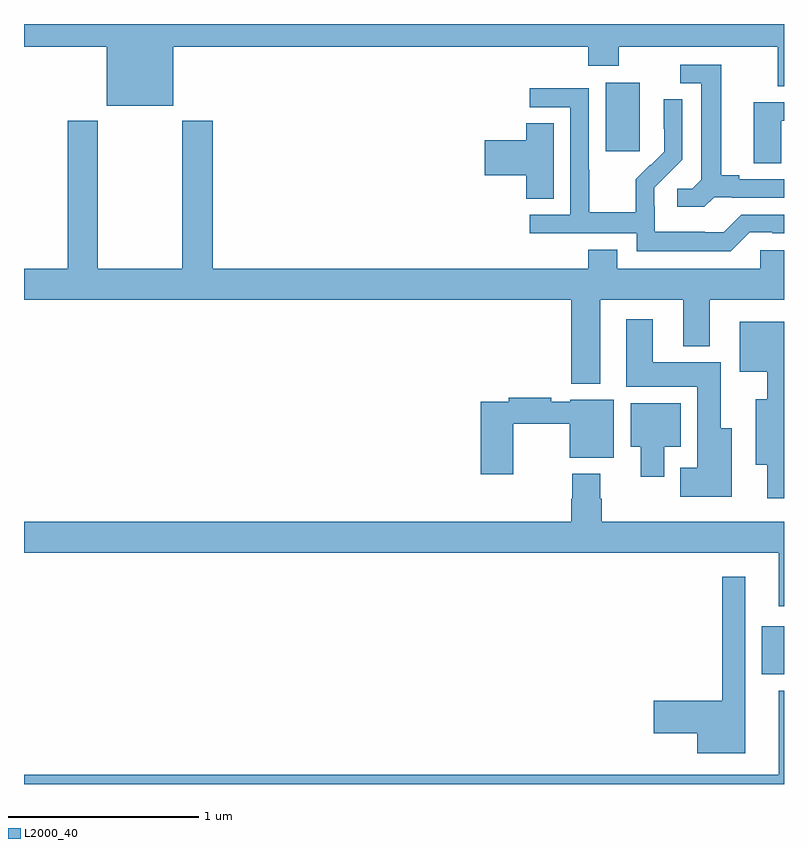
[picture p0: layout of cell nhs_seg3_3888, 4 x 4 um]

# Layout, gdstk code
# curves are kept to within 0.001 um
import gdstk
lib = gdstk.Library(unit=1e-6, precision=1e-09)
def R(c, l, rs):  # rectangles x0, y0, x1, y1
    for r in rs: c.add(gdstk.rectangle(r[:2], r[2:], *l))
def P(c, l, *ps):  # polygons
    for p in ps: c.add(gdstk.Polygon(p, *l))
L2000_40 = (2000, 40)

nhs_seg3_3888 = lib.new_cell('nhs_seg3_3888')
R(nhs_seg3_3888, L2000_40, [(316.883,666.977,317,667.231), (316.061,669.729,316.24,670.09)])
P(nhs_seg3_3888, L2000_40, [(313.786,670.28),(315.971,670.28),(315.971,670.181),(316.131,670.181),(316.131,670.28),(316.967,670.28),(316.967,670.072),(317,670.072),(317,670.4),(313,670.4),(313,670.28),(313.436,670.28),(313.436,669.971),(313.786,669.971)],
  [(316.632,669.489),(316.726,669.489),(316.726,669.486),(317,669.486),(317,669.582),(316.765,669.582),(316.765,669.605),(316.669,669.605),(316.669,670.185),(316.455,670.185),(316.455,670.089),(316.565,670.089),(316.565,669.581),(316.518,669.534),(316.437,669.534),(316.437,669.437),(316.58,669.437)],
  [(316.821,669.303),(316.937,669.303),(316.937,669.3),(317,669.3),(317,669.396),(316.776,669.396),(316.683,669.303),(316.583,669.303),(316.583,669.307),(316.32,669.307),(316.32,669.441),(316.318,669.441),(316.318,669.538),(316.464,669.686),(316.464,670.004),(316.368,670.004),(316.368,669.85),(316.37,669.85),(316.37,669.728),(316.299,669.657),(316.296,669.66),(316.219,669.583),(316.219,669.409),(315.975,669.409),(315.975,669.632),(315.972,669.632),(315.972,670.062),(315.663,670.062),(315.663,669.963),(315.876,669.963),(315.876,669.396),(315.663,669.396),(315.663,669.3),(316.224,669.3),(316.224,669.203),(316.721,669.203)],
  [(316.986,669.891),(317,669.891),(317,669.987),(316.841,669.987),(316.841,669.667),(316.986,669.667)],
  [(316.033,668.948),(316.469,668.948),(316.469,668.705),(316.609,668.705),(316.609,668.948),(317,668.948),(317,669.21),(316.875,669.21),(316.875,669.112),(316.123,669.112),(316.123,669.211),(315.971,669.211),(315.971,669.112),(313.994,669.112),(313.994,669.892),(313.834,669.892),(313.834,669.112),(313.389,669.112),(313.389,669.892),(313.229,669.892),(313.229,669.112),(313,669.112),(313,668.948),(315.881,668.948),(315.881,668.507),(316.033,668.507)],
  [(315.787,669.878),(315.644,669.878),(315.644,669.788),(315.426,669.788),(315.426,669.605),(315.644,669.605),(315.644,669.481),(315.787,669.481)],
  [(316.726,668.272),(316.666,668.272),(316.666,668.62),(316.309,668.62),(316.309,668.845),(316.169,668.845),(316.169,668.492),(316.544,668.492),(316.544,668.065),(316.454,668.065),(316.454,667.913),(316.726,667.913)],
  [(317,668.833),(316.766,668.833),(316.766,668.57),(316.913,668.57),(316.913,668.425),(316.85,668.425),(316.85,668.081),(316.913,668.081),(316.913,667.905),(317,667.905)],
  [(315.574,668.296),(315.872,668.296),(315.872,668.117),(316.105,668.117),(316.105,668.422),(315.876,668.422),(315.876,668.412),(315.776,668.412),(315.776,668.432),(315.55,668.432),(315.55,668.412),(315.404,668.412),(315.404,668.031),(315.574,668.031)],
  [(316.369,668.174),(316.456,668.174),(316.456,668.404),(316.193,668.404),(316.193,668.174),(316.247,668.174),(316.247,668.016),(316.369,668.016)],
  [(317,667.78),(316.041,667.78),(316.041,667.901),(316.033,667.901),(316.033,668.032),(315.886,668.032),(315.886,667.901),(315.881,667.901),(315.881,667.78),(313,667.78),(313,667.616),(316.973,667.616),(316.973,667.335),(317,667.335)],
  [(316.795,667.492),(316.674,667.492),(316.674,666.839),(316.314,666.839),(316.314,666.668),(316.544,666.668),(316.544,666.563),(316.795,666.563)],
  [(317,666.892),(316.973,666.892),(316.973,666.448),(313,666.448),(313,666.4),(317,666.4)])

lib.write_gds('nhs_seg3_3888.gds')
